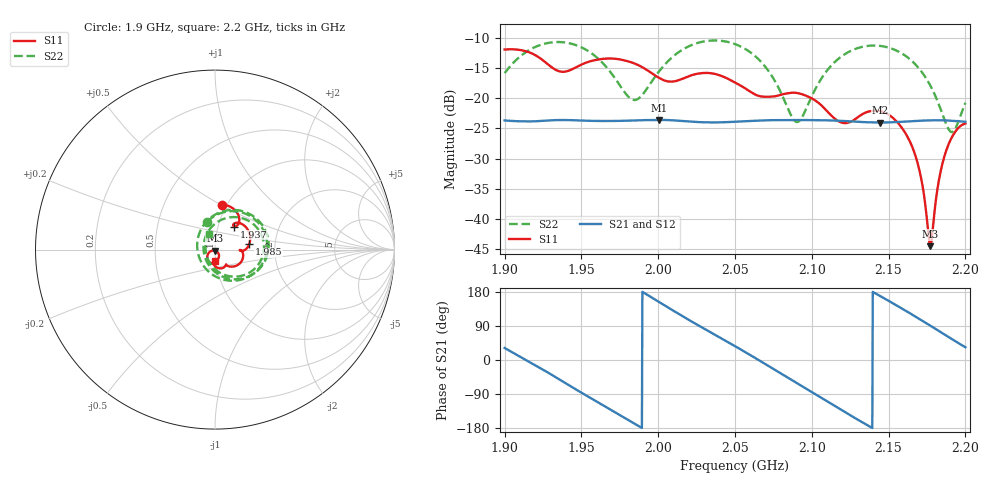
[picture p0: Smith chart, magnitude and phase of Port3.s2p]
# Hz S RI R 50
! CMT, CMT808U, 21440046, 21.4.3/4
! Date: 3/28/2026 4:56:39 PM
! Data: Format (Calibration Info)
! Freq	S11:Re/Im(F2)	S41:Re/Im(F2)	S14:Re/Im(F2)	S44:Re/Im(F2)
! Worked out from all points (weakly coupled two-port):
!   1001 points, 1.9 GHz to 2.2 GHz, reference 50 ohm
!   highest |S21| = -23.58 dB at 2.001 GHz (marker M1); lowest = -24.0 dB at 2.144 GHz (marker M2)
!   lowest |S11| = -44.5 dB at 2.177 GHz (marker M3), VSWR 1.01, Z = 49.9 - j0.579 ohm
!   |S11| at or under -10 dB: start of sweep to end of sweep
!   |S22| runs from -25.6 to -10.4 dB; largest |S21 - S12| = 0.00041
!   S11 on the Smith chart (normalised r, x): 1.9 GHz: 0.95, +0.51; 1.937 GHz: 1.19, +0.31; 1.985 GHz: 1.47, +0.09; 2.2 GHz: 0.99, -0.12
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1.9e9  0.0383 0.251  0.0557 0.0345  0.0554 0.0347  -0.0429 0.1562
1.9171e9  0.1253 0.2021  0.0639 -0.00813  0.0638 -0.0078  0.1514 0.2062
1.9366e9  0.106 0.1283  0.0392 -0.0532  0.0394 -0.0529  0.2903 0.0369
1.9501e9  0.1183 0.1496  0.00404 -0.0653  0.00437 -0.0652  0.2401 -0.1108
1.9669e9  0.179 0.1167  -0.0381 -0.0525  -0.0378 -0.0526  0.0542 -0.1692
1.9852e9  0.1908 0.0299  -0.0644 -0.0122  -0.0643 -0.0125  -0.0959 -0.0142
2.0002e9  0.1484 -0.00772  -0.0595 0.029  -0.0596 0.0287  -0.0453 0.1587
2.0005e9  0.1477 -0.00769  -0.0592 0.0298  -0.0592 0.0295  -0.0428 0.1614
2.0209e9  0.1534 -0.0144  -0.015 0.0624  -0.0153 0.0622  0.1834 0.2031
2.05e9  0.0963 -0.0949  0.0513 0.0381  0.0511 0.0383  0.2713 -0.076
2.0701e9  0.0621 -0.0822  0.0643 -0.0133  0.0643 -0.0129  0.0791 -0.162
2.0893e9  0.0408 -0.1035  0.0344 -0.0564  0.0346 -0.0561  -0.0618 -0.018
2.1001e9  0.00937 -0.0993  0.00569 -0.0657  0.00599 -0.0656  -0.0409 0.0965
2.1202e9  -0.000791 -0.0626  -0.0453 -0.0466  -0.0449 -0.0468  0.141 0.1774
2.1445e9  -0.0256 -0.0741  -0.0618 0.0122  -0.0618 0.0119  0.2721 -0.00393
2.1502e9  -0.0377 -0.0624  -0.0576 0.026  -0.0576 0.0257  0.2563 -0.0584
2.167e9  -0.0317 -0.0146  -0.0283 0.0583  -0.0285 0.0581  0.1224 -0.1501
2.1715e9  -0.0195 -0.00714  -0.0167 0.0631  -0.017 0.063  0.0764 -0.1474
2.1772e9  -0.00126 -0.00581  -0.000687 0.0657  -0.001 0.0656  0.0221 -0.1254
2.1865e9  0.0212 -0.026  0.0256 0.0604  0.0253 0.0605  -0.04 -0.0526
2.1919e9  0.0205 -0.045  0.0388 0.0523  0.0385 0.0525  -0.0528 0.00227
2.2e9  -0.00219 -0.0618  0.0533 0.0353  0.053 0.0356  -0.0361 0.0845
